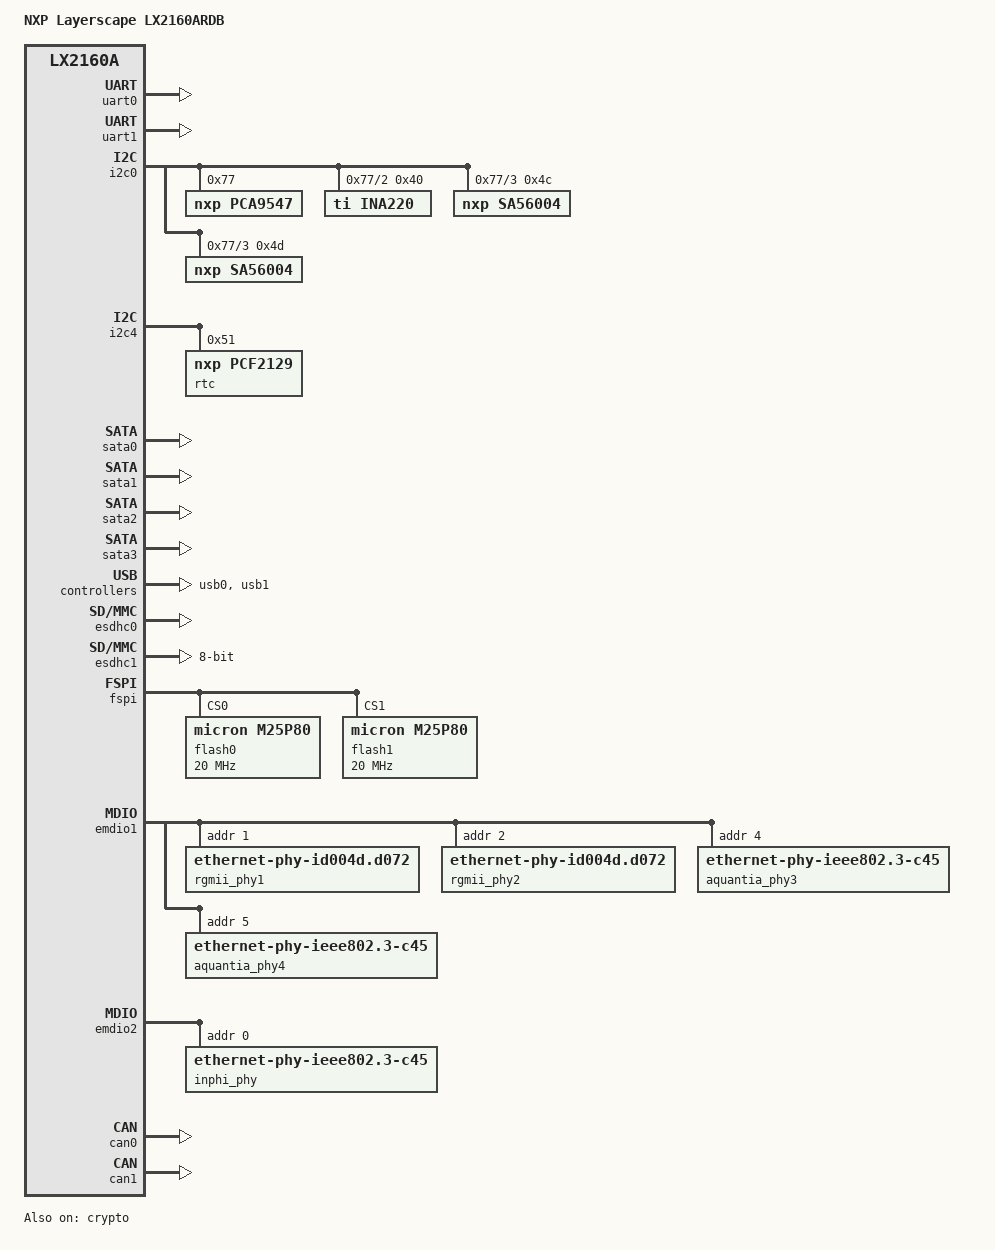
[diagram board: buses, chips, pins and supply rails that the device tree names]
/*
 * Device Tree file for LX2160ARDB
 *
 * Copyright 2018 NXP
 *
 * Sriram Dash <sriram.dash@nxp.com>
 *
 * This file is dual-licensed: you can use it either under the terms
 * of the GPL or the X11 license, at your option. Note that this dual
 * licensing only applies to this file, and not this project as a
 * whole.
 *
 *  a) This library is free software; you can redistribute it and/or
 *     modify it under the terms of the GNU General Public License as
 *     published by the Free Software Foundation; either version 2 of the
 *     License, or (at your option) any later version.
 *
 *     This library is distributed in the hope that it will be useful,
 *     but WITHOUT ANY WARRANTY; without even the implied warranty of
 *     MERCHANTABILITY or FITNESS FOR A PARTICULAR PURPOSE.  See the
 *     GNU General Public License for more details.
 *
 * Or, alternatively,
 *
 *  b) Permission is hereby granted, free of charge, to any person
 *     obtaining a copy of this software and associated documentation
 *     files (the "Software"), to deal in the Software without
 *     restriction, including without limitation the rights to use,
 *     copy, modify, merge, publish, distribute, sublicense, and/or
 *     sell copies of the Software, and to permit persons to whom the
 *     Software is furnished to do so, subject to the following
 *     conditions:
 *
 *     The above copyright notice and this permission notice shall be
 *     included in all copies or substantial portions of the Software.
 *
 *     THE SOFTWARE IS PROVIDED "AS IS", WITHOUT WARRANTY OF ANY KIND,
 *     EXPRESS OR IMPLIED, INCLUDING BUT NOT LIMITED TO THE WARRANTIES
 *     OF MERCHANTABILITY, FITNESS FOR A PARTICULAR PURPOSE AND
 *     NONINFRINGEMENT. IN NO EVENT SHALL THE AUTHORS OR COPYRIGHT
 *     HOLDERS BE LIABLE FOR ANY CLAIM, DAMAGES OR OTHER LIABILITY,
 *     WHETHER IN AN ACTION OF CONTRACT, TORT OR OTHERWISE, ARISING
 *     FROM, OUT OF OR IN CONNECTION WITH THE SOFTWARE OR THE USE OR
 *     OTHER DEALINGS IN THE SOFTWARE.
 */

/dts-v1/;

#include "fsl-lx2160a.dtsi"

/ {
	model = "NXP Layerscape LX2160ARDB";
	compatible = "fsl,lx2160a-rdb", "fsl,lx2160a";

	aliases {
		crypto = &crypto;
		serial0 = &uart0;
		serial1 = &uart1;
		serial2 = &uart2;
		serial3 = &uart3;
	};
	chosen {
		stdout-path = "serial0:115200n8";
	};
};

&uart0 {
	status = "okay";
};

&uart1 {
	status = "okay";
};

&i2c0 {
	status = "okay";
	pca9547@77 {
		compatible = "nxp,pca9547";
		reg = <0x77>;
		#address-cells = <1>;
		#size-cells = <0>;

		i2c@2 {
			#address-cells = <1>;
			#size-cells = <0>;
			reg = <0x2>;

			ina220@40 {
				compatible = "ti,ina220";
				reg = <0x40>;
				shunt-resistor = <500>;
			};
		};

		i2c@3 {
			#address-cells = <1>;
			#size-cells = <0>;
			reg = <0x3>;

			sa56004@4c {
				compatible = "nxp,sa56004";
				reg = <0x4c>;
			};

			sa56004@4d {
				compatible = "nxp,sa56004";
				reg = <0x4d>;
			};
		};
	};
};

&i2c1 {
	status = "disabled";
};

&i2c2 {
	status = "disabled";
};

&i2c3 {
	status = "disabled";
};

&i2c4 {
	status = "okay";

	rtc@51 {
		compatible = "nxp,pcf2129";
		reg = <0x51>;
		/* IRQ10_B */
		interrupts = <0 150 0x4>;
	};

};

&i2c5 {
	status = "disabled";
};

&i2c6 {
	status = "disabled";
};

&i2c7 {
	status = "disabled";
};

&sata0 {
	status = "okay";
};

&sata1 {
	status = "okay";
};

&sata2 {
	status = "okay";
};

&sata3 {
	status = "okay";
};

&usb0 {
	status = "okay";
};

&usb1 {
	status = "okay";
};

&esdhc0 {
	sd-uhs-sdr104;
	sd-uhs-sdr50;
	sd-uhs-sdr25;
	sd-uhs-sdr12;
	status = "okay";
};

&esdhc1 {
	mmc-hs200-1_8v;
	mmc-hs400-1_8v;
	bus-width = <8>;
	status = "okay";
};

&fspi {
	status = "okay";
	nxp,fspi-has-second-chip;
	flash0: mt35xu512aba@0 {
		#address-cells = <1>;
		#size-cells = <1>;
		compatible = "micron,m25p80";
		m25p,fast-read;
		spi-max-frequency = <20000000>;
		reg = <0>;
		/* The following setting enables 1-1-8 (CMD-ADDR-DATA) mode */
		spi-rx-bus-width = <8>; /* 8 SPI Rx lines */
		spi-tx-bus-width = <1>; /* 1 SPI Tx line */
	};

	flash1: mt35xu512aba@1 {
		#address-cells = <1>;
		#size-cells = <1>;
		compatible = "micron,m25p80";
		m25p,fast-read;
		spi-max-frequency = <20000000>;
		reg = <1>;
		/* The following setting enables 1-1-8 (CMD-ADDR-DATA) mode */
		spi-rx-bus-width = <8>; /* 8 SPI Rx lines */
		spi-tx-bus-width = <1>; /* 1 SPI Tx line */
	};
};

&crypto {
	status = "okay";
};

&emdio1 {
	rgmii_phy1: ethernet-phy@1 {
		/* AR8035 PHY - "compatible" property not strictly needed */
		compatible = "ethernet-phy-id004d.d072";
		reg = <0x1>;
		/* Poll mode - no "interrupts" property defined */
	};
	rgmii_phy2: ethernet-phy@2 {
		/* AR8035 PHY - "compatible" property not strictly needed */
		compatible = "ethernet-phy-id004d.d072";
		reg = <0x2>;
		/* Poll mode - no "interrupts" property defined */
	};
	aquantia_phy3: ethernet-phy@3 {
		/* AQR107 PHY - "compatible" property not strictly needed */
		compatible = "ethernet-phy-ieee802.3-c45";
		reg = <0x4>;
		/* Poll mode - no "interrupts" property defined */
	};
	aquantia_phy4: ethernet-phy@4 {
		/* AQR107 PHY - "compatible" property not strictly needed */
		compatible = "ethernet-phy-ieee802.3-c45";
		reg = <0x5>;
		/* Poll mode - no "interrupts" property defined */
	};
};

&emdio2 {
        inphi_phy: emdio2_phy@0 {
                compatible = "ethernet-phy-ieee802.3-c45";
                reg = <0x0>;
                dev-addr = <0x1e>;
                phy-connection-type = "xfi";
                interrupts = <0 9 0x2>, <0 10 0x2>; /* high-to-low edge triggered */
        };
};

&dpmac3 {
        phy-handle = <&aquantia_phy3>;
        phy-connection-type = "xgmii";
};

&dpmac4 {
        phy-handle = <&aquantia_phy4>;
        phy-connection-type = "xgmii";
};

&dpmac5 {
         phy-handle = <&inphi_phy>;
};

&dpmac6 {
         phy-handle = <&inphi_phy>;
};

&dpmac17 {
	phy-handle = <&rgmii_phy1>;
	phy-connection-type = "rgmii-id";
};

&dpmac18 {
	phy-handle = <&rgmii_phy2>;
	phy-connection-type = "rgmii-id";
};

&can0 {
       status = "okay";
};

&can1 {
       status = "okay";
};

